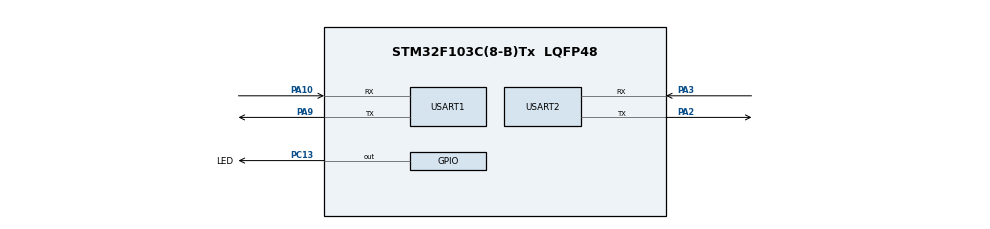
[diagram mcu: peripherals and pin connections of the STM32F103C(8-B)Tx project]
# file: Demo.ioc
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Dma.Request0=USART2_RX
Dma.Request1=USART1_RX
Dma.Request2=USART1_TX
Dma.USART1_RX.1.Direction=DMA_PERIPH_TO_MEMORY
Dma.USART1_RX.1.Instance=DMA1_Channel5
Dma.USART1_RX.1.MemDataAlignment=DMA_MDATAALIGN_BYTE
Dma.USART1_RX.1.MemInc=DMA_MINC_ENABLE
Dma.USART1_RX.1.Mode=DMA_NORMAL
Dma.USART1_RX.1.PeriphDataAlignment=DMA_PDATAALIGN_BYTE
Dma.USART1_RX.1.PeriphInc=DMA_PINC_DISABLE
Dma.USART1_RX.1.Priority=DMA_PRIORITY_LOW
Dma.USART1_TX.2.Direction=DMA_MEMORY_TO_PERIPH
Dma.USART1_TX.2.Instance=DMA1_Channel4
Dma.USART1_TX.2.MemDataAlignment=DMA_MDATAALIGN_BYTE
Dma.USART1_TX.2.MemInc=DMA_MINC_ENABLE
Dma.USART1_TX.2.Mode=DMA_CIRCULAR
Dma.USART1_TX.2.PeriphDataAlignment=DMA_PDATAALIGN_BYTE
Dma.USART1_TX.2.PeriphInc=DMA_PINC_DISABLE
Dma.USART1_TX.2.Priority=DMA_PRIORITY_LOW
Dma.USART2_RX.0.Direction=DMA_PERIPH_TO_MEMORY
Dma.USART2_RX.0.Instance=DMA1_Channel6
Dma.USART2_RX.0.MemDataAlignment=DMA_MDATAALIGN_BYTE
Dma.USART2_RX.0.MemInc=DMA_MINC_ENABLE
Dma.USART2_RX.0.Mode=DMA_NORMAL
Dma.USART2_RX.0.PeriphDataAlignment=DMA_PDATAALIGN_BYTE
Dma.USART2_RX.0.PeriphInc=DMA_PINC_DISABLE
Dma.USART2_RX.0.Priority=DMA_PRIORITY_LOW
Mcu.Family=STM32F1
Mcu.Name=STM32F103C(8-B)Tx
Mcu.Package=LQFP48
NVIC.DMA1_Channel4_IRQn=true\:0\:0\:false\:false\:true\:false\:true
NVIC.DMA1_Channel5_IRQn=true\:0\:0\:false\:false\:true\:false\:true
NVIC.DMA1_Channel6_IRQn=true\:0\:0\:false\:false\:true\:false\:true
NVIC.PriorityGroup=NVIC_PRIORITYGROUP_4
PA10.Mode=Asynchronous
PA10.Signal=USART1_RX
PA13.Mode=Serial_Wire
PA13.Signal=SYS_JTMS-SWDIO
PA14.Mode=Serial_Wire
PA14.Signal=SYS_JTCK-SWCLK
PA2.Mode=Asynchronous
PA2.Signal=USART2_TX
PA3.Mode=Asynchronous
PA3.Signal=USART2_RX
PA9.Mode=Asynchronous
PA9.Signal=USART1_TX
PC13-TAMPER-RTC.GPIO_Label=LED
PC13-TAMPER-RTC.Signal=GPIO_Output
ProjectManager.HeapSize=0x200
ProjectManager.StackSize=0x400
ProjectManager.TargetToolchain=Makefile
RCC.APB1Freq_Value=8000000
RCC.APB2Freq_Value=8000000
USART1.VirtualMode=VM_ASYNC
USART2.VirtualMode=VM_ASYNC
board=custom

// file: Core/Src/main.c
/* USER CODE BEGIN Header */
/**
  ******************************************************************************
  * @file           : main.c
  * @brief          : Main program body
  ******************************************************************************
  * @attention
  *
  * <h2><center>&copy; Copyright (c) 2020 STMicroelectronics.
  * All rights reserved.</center></h2>
  *
  * This software component is licensed by ST under BSD 3-Clause license,
  * the "License"; You may not use this file except in compliance with the
  * License. You may obtain a copy of the License at:
  *                        opensource.org/licenses/BSD-3-Clause
  *
  ******************************************************************************
  */
 #include <stdbool.h>
/* USER CODE END Header */
#include "main.h"

/* USER CODE BEGIN Includes */
uint8_t Rx_data[2];
uint8_t buffer[2];
volatile  bool Transfer_cplt = false;
/* USER CODE END Includes */

UART_HandleTypeDef huart1;
UART_HandleTypeDef huart2;
DMA_HandleTypeDef hdma_usart1_rx;
DMA_HandleTypeDef hdma_usart1_tx;
DMA_HandleTypeDef hdma_usart2_rx;

void SystemClock_Config(void);
static void MX_GPIO_Init(void);
static void MX_DMA_Init(void);
static void MX_USART1_UART_Init(void);
static void MX_USART2_UART_Init(void);

/* USER CODE BEGIN 0 */
HAL_StatusTypeDef HAL_UART_DMA_Tx_Stop(UART_HandleTypeDef *huart)
{
  uint32_t dmarequest = 0x00U;
  dmarequest = HAL_IS_BIT_SET(huart->Instance->CR3, USART_CR3_DMAT);
  if((huart->gState == HAL_UART_STATE_BUSY_TX) && dmarequest)
  {
    CLEAR_BIT(huart->Instance->CR3, USART_CR3_DMAT);

    /* Abort the UART DMA Tx channel */
    if(huart->hdmatx != NULL)
    {
      HAL_DMA_Abort(huart->hdmatx);
    }
    //UART_EndTxTransfer(huart);
		  /* Disable TXEIE and TCIE interrupts */
		CLEAR_BIT(huart->Instance->CR1, (USART_CR1_TXEIE | USART_CR1_TCIE));
		huart->gState = HAL_UART_STATE_READY;

		return HAL_OK;
  }
	else return HAL_ERROR;

}
//TX uart phai set mode Circular moiw vao duoc che do nay
void HAL_UART_TxCpltCallback(UART_HandleTypeDef *huart)
{
  if (huart->Instance == USART1){
    //HAL_GPIO_TogglePin(LED_GPIO_Port,LED_Pin);
	  HAL_GPIO_WritePin(LED_GPIO_Port,LED_Pin,GPIO_PIN_RESET);
    HAL_UART_DMA_Tx_Stop(&huart1);
  }

}

void HAL_UART_RxCpltCallback(UART_HandleTypeDef *huart)
{
  if (huart->Instance == USART1){
	  HAL_GPIO_TogglePin(LED_GPIO_Port,LED_Pin);
     //HAL_GPIO_WritePin(LED_GPIO_Port,LED_Pin,GPIO_PIN_SET);
     Transfer_cplt = true ;
     __HAL_UART_FLUSH_DRREGISTER (&huart1); // Clear the buffer to prevent overrun
  }
}
/* USER CODE END 0 */

int main(void)
{

  /* MCU Configuration--------------------------------------------------------*/

  /* Reset of all peripherals, Initializes the Flash interface and the Systick. */
  HAL_Init();

  /* Configure the system clock */
  SystemClock_Config();

  /* Initialize all configured peripherals */
  MX_GPIO_Init();
  MX_DMA_Init();
  MX_USART1_UART_Init();
  MX_USART2_UART_Init();
  /* USER CODE BEGIN 2 */
  HAL_UART_Receive_DMA(&huart1, (uint8_t *)Rx_data, 2); //
  /* USER CODE END 2 */

  /* Infinite loop */
  /* USER CODE BEGIN WHILE */
  while (1)
  {
    if (Transfer_cplt){
      //HAL_GPIO_TogglePin(LED_GPIO_Port,LED_Pin);
      Transfer_cplt=false;
      memcpy(buffer,Rx_data,sizeof(buffer));
     // buffer = x_data ;
        while( HAL_UART_Transmit_DMA(&huart1, buffer, 2) != HAL_OK )
        {
            /* EMPTY LOOP, or so something else useful */
        }

      HAL_UART_Receive_DMA(&huart1, (uint8_t *)Rx_data, 2); // Goi ham nay de cho nhan DMA
     }

    HAL_Delay(10);
    /* USER CODE END WHILE */

  }
}

void SystemClock_Config(void)
{
  RCC_OscInitTypeDef RCC_OscInitStruct = {0};
  RCC_ClkInitTypeDef RCC_ClkInitStruct = {0};

  /** Initializes the RCC Oscillators according to the specified parameters
  * in the RCC_OscInitTypeDef structure.
  */
  RCC_OscInitStruct.OscillatorType = RCC_OSCILLATORTYPE_HSI;
  RCC_OscInitStruct.HSIState = RCC_HSI_ON;
  RCC_OscInitStruct.HSICalibrationValue = RCC_HSICALIBRATION_DEFAULT;
  RCC_OscInitStruct.PLL.PLLState = RCC_PLL_NONE;
  if (HAL_RCC_OscConfig(&RCC_OscInitStruct) != HAL_OK)
  {
    Error_Handler();
  }
  /** Initializes the CPU, AHB and APB buses clocks
  */
  RCC_ClkInitStruct.ClockType = RCC_CLOCKTYPE_HCLK|RCC_CLOCKTYPE_SYSCLK
                              |RCC_CLOCKTYPE_PCLK1|RCC_CLOCKTYPE_PCLK2;
  RCC_ClkInitStruct.SYSCLKSource = RCC_SYSCLKSOURCE_HSI;
  RCC_ClkInitStruct.AHBCLKDivider = RCC_SYSCLK_DIV1;
  RCC_ClkInitStruct.APB1CLKDivider = RCC_HCLK_DIV1;
  RCC_ClkInitStruct.APB2CLKDivider = RCC_HCLK_DIV1;

  if (HAL_RCC_ClockConfig(&RCC_ClkInitStruct, FLASH_LATENCY_0) != HAL_OK)
  {
    Error_Handler();
  }
}

static void MX_USART1_UART_Init(void)
{

  huart1.Instance = USART1;
  huart1.Init.BaudRate = 115200;
  huart1.Init.WordLength = UART_WORDLENGTH_8B;
  huart1.Init.StopBits = UART_STOPBITS_1;
  huart1.Init.Parity = UART_PARITY_NONE;
  huart1.Init.Mode = UART_MODE_TX_RX;
  huart1.Init.HwFlowCtl = UART_HWCONTROL_NONE;
  huart1.Init.OverSampling = UART_OVERSAMPLING_16;
  if (HAL_UART_Init(&huart1) != HAL_OK)
  {
    Error_Handler();
  }

}

static void MX_USART2_UART_Init(void)
{

  huart2.Instance = USART2;
  huart2.Init.BaudRate = 115200;
  huart2.Init.WordLength = UART_WORDLENGTH_8B;
  huart2.Init.StopBits = UART_STOPBITS_1;
  huart2.Init.Parity = UART_PARITY_NONE;
  huart2.Init.Mode = UART_MODE_TX_RX;
  huart2.Init.HwFlowCtl = UART_HWCONTROL_NONE;
  huart2.Init.OverSampling = UART_OVERSAMPLING_16;
  if (HAL_UART_Init(&huart2) != HAL_OK)
  {
    Error_Handler();
  }

}

static void MX_DMA_Init(void)
{

  /* DMA controller clock enable */
  __HAL_RCC_DMA1_CLK_ENABLE();

  /* DMA interrupt init */
  /* DMA1_Channel4_IRQn interrupt configuration */
  HAL_NVIC_SetPriority(DMA1_Channel4_IRQn, 0, 0);
  HAL_NVIC_EnableIRQ(DMA1_Channel4_IRQn);
  /* DMA1_Channel5_IRQn interrupt configuration */
  HAL_NVIC_SetPriority(DMA1_Channel5_IRQn, 0, 0);
  HAL_NVIC_EnableIRQ(DMA1_Channel5_IRQn);
  /* DMA1_Channel6_IRQn interrupt configuration */
  HAL_NVIC_SetPriority(DMA1_Channel6_IRQn, 0, 0);
  HAL_NVIC_EnableIRQ(DMA1_Channel6_IRQn);

}

static void MX_GPIO_Init(void)
{
  GPIO_InitTypeDef GPIO_InitStruct = {0};

  /* GPIO Ports Clock Enable */
  __HAL_RCC_GPIOC_CLK_ENABLE();
  __HAL_RCC_GPIOA_CLK_ENABLE();

  /*Configure GPIO pin Output Level */
  HAL_GPIO_WritePin(LED_GPIO_Port, LED_Pin, GPIO_PIN_RESET);

  /*Configure GPIO pin : LED_Pin */
  GPIO_InitStruct.Pin = LED_Pin;
  GPIO_InitStruct.Mode = GPIO_MODE_OUTPUT_PP;
  GPIO_InitStruct.Pull = GPIO_NOPULL;
  GPIO_InitStruct.Speed = GPIO_SPEED_FREQ_LOW;
  HAL_GPIO_Init(LED_GPIO_Port, &GPIO_InitStruct);

}

void Error_Handler(void)
{
}

/************************ (C) COPYRIGHT STMicroelectronics *****END OF FILE****/
